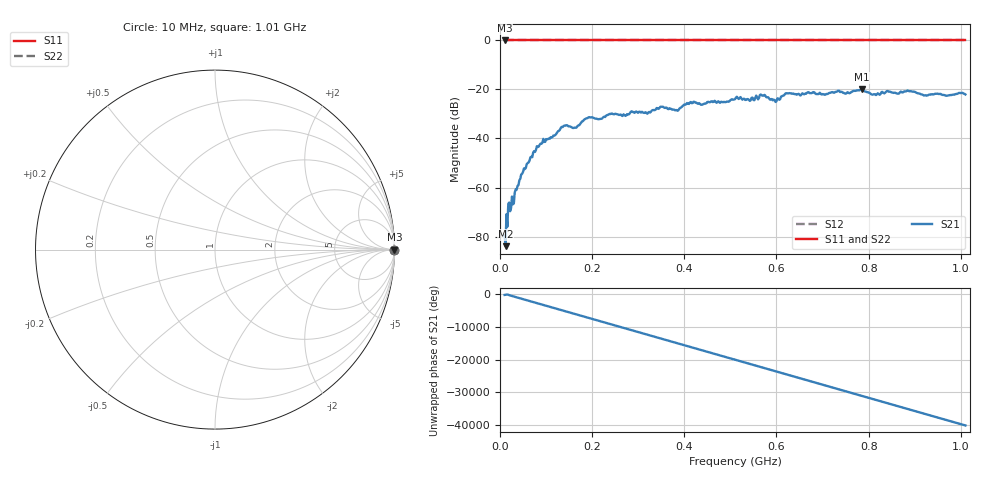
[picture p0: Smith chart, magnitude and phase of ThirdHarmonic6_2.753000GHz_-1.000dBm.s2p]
! 8/17/2025 6:54:10 AM
! C:\ANRITSUVNA\TEMP\TEMP.S2P
! CHANNEL.1
! TR.MEASUREMENT
! RAW.DATA
! RF.CORRECTION.OFF
! AVERAGING.OFF
! IF.BANDWIDTH: 5KHZ
! SWEEPTYPE:  FREQ.SWEEP(Linear)
! Reference Plane Port Info
! PORT:  PORT1  PORT2
! DISTANCE:  0  m  0  m
! TIME:  0  s  0  s
! PHASE.OFFSET:  0  deg.  0  deg.
! LOSS:  0  dB  0  dB
! REF.LOSS:  0  dB  0  dB
! REF.FREQ:  0  Hz  0  Hz
! Power Info
! POWER:  -20  dBm  -20  dBm
! EFF.POWER:  -20  dBm  -20  dBm
! SOURCE.ATTEN:  0  dB  0  dB
! TEST.ATTEN:  0  dB  0  dB
# GHZ S RI R 50.0
! FREQ.GHZ  S11RE  S11IM  S21RE  S21IM  S12RE  S12IM  S22RE  S22IM
!; PortSelection: Port_12
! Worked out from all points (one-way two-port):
!   501 points, 10 MHz to 1.01 GHz, reference 50 ohm
!   highest |S21| = -19.95 dB at 786 MHz (marker M1); lowest = -83.9 dB at 12 MHz (marker M2)
!   lowest |S11| = 0.0 dB at 10 MHz (marker M3)
!   |S11| at or under -10 dB: nowhere
!   |S22| runs from 0.0 to 0.0 dB; largest |S21 - S12| = 1.1
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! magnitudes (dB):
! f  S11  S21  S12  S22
! 10 MHz  0.0  -79.6  0.0  0.0
! 12 MHz  0.0  -83.9  0.0  0.0
! 22 MHz  0.0  -69.7  0.0  0.0
! 26 MHz  0.0  -63.7  0.0  0.0
! 48 MHz  0.0  -54.4  0.0  0.0
! 76 MHz  0.0  -45.5  0.0  0.0
! 136 MHz  0.0  -35.3  0.0  0.0
! 162 MHz  0.0  -35.6  0.0  0.0
! 178 MHz  0.0  -33.0  0.0  0.0
! 194 MHz  0.0  -31.3  0.0  0.0
! 344 MHz  0.0  -27.9  0.0  0.0
! 384 MHz  0.0  -28.5  0.0  0.0
! 410 MHz  0.0  -25.9  0.0  0.0
! 510 MHz  0.0  -23.9  0.0  0.0
! 570 MHz  0.0  -22.6  0.0  0.0
! 596 MHz  0.0  -24.4  0.0  0.0
! 624 MHz  0.0  -21.6  0.0  0.0
! 678 MHz  0.0  -21.3  0.0  0.0
! 786 MHz  0.0  -19.9  0.0  0.0
! 812 MHz  0.0  -21.9  0.0  0.0
! 844 MHz  0.0  -20.9  0.0  0.0
! 1.01 GHz  0.0  -22.0  0.0  0.0
